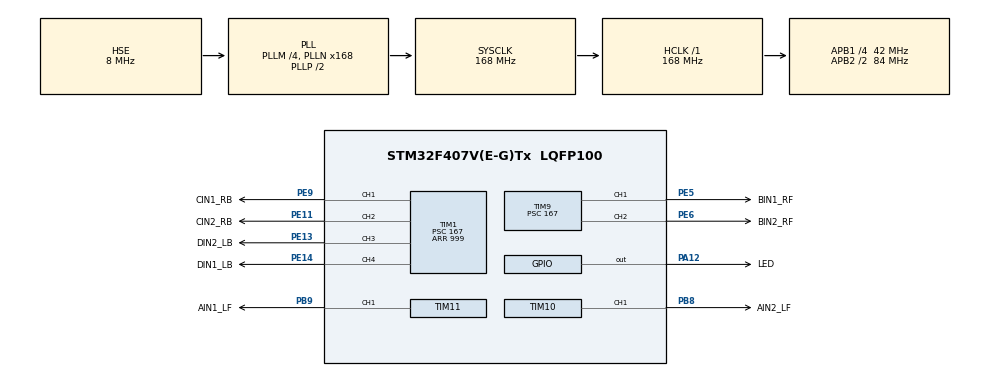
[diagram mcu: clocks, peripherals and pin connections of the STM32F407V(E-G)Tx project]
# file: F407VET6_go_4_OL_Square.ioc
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Mcu.Family=STM32F4
Mcu.Name=STM32F407V(E-G)Tx
Mcu.Package=LQFP100
NVIC.PriorityGroup=NVIC_PRIORITYGROUP_4
PA12.GPIO_Label=LED
PA12.Signal=GPIO_Output
PA13.Mode=Serial_Wire
PA13.Signal=SYS_JTMS-SWDIO
PA14.Mode=Serial_Wire
PA14.Signal=SYS_JTCK-SWCLK
PB8.GPIO_Label=AIN2_LF
PB8.Signal=S_TIM10_CH1
PB9.GPIO_Label=AIN1_LF
PB9.Signal=S_TIM11_CH1
PE11.GPIO_Label=CIN2_RB
PE11.Signal=S_TIM1_CH2
PE13.GPIO_Label=DIN2_LB
PE13.Signal=S_TIM1_CH3
PE14.GPIO_Label=DIN1_LB
PE14.Signal=S_TIM1_CH4
PE5.GPIO_Label=BIN1_RF
PE5.Signal=S_TIM9_CH1
PE6.GPIO_Label=BIN2_RF
PE6.Signal=S_TIM9_CH2
PE9.GPIO_Label=CIN1_RB
PE9.Signal=S_TIM1_CH1
PH0-OSC_IN.Mode=HSE-External-Oscillator
PH0-OSC_IN.Signal=RCC_OSC_IN
PH1-OSC_OUT.Mode=HSE-External-Oscillator
PH1-OSC_OUT.Signal=RCC_OSC_OUT
ProjectManager.HeapSize=0x200
ProjectManager.StackSize=0x400
ProjectManager.TargetToolchain=MDK-ARM V5.32
RCC.48MHZClocksFreq_Value=84000000
RCC.AHBFreq_Value=168000000
RCC.APB1CLKDivider=RCC_HCLK_DIV4
RCC.APB1Freq_Value=42000000
RCC.APB1TimFreq_Value=84000000
RCC.APB2CLKDivider=RCC_HCLK_DIV2
RCC.APB2Freq_Value=84000000
RCC.APB2TimFreq_Value=168000000
RCC.CortexFreq_Value=168000000
RCC.HCLKFreq_Value=168000000
RCC.HSE_VALUE=8000000
RCC.HSI_VALUE=16000000
RCC.LSE_VALUE=32768
RCC.PLLM=4
RCC.PLLN=168
RCC.PLLSourceVirtual=RCC_PLLSOURCE_HSE
RCC.SYSCLKFreq_VALUE=168000000
RCC.SYSCLKSource=RCC_SYSCLKSOURCE_PLLCLK
RCC.VCOOutputFreq_Value=336000000
SH.S_TIM10_CH1.0=TIM10_CH1,PWM Generation1 CH1
SH.S_TIM11_CH1.0=TIM11_CH1,PWM Generation1 CH1
SH.S_TIM1_CH1.0=TIM1_CH1,PWM Generation1 CH1
SH.S_TIM1_CH2.0=TIM1_CH2,PWM Generation2 CH2
SH.S_TIM1_CH3.0=TIM1_CH3,PWM Generation3 CH3
SH.S_TIM1_CH4.0=TIM1_CH4,PWM Generation4 CH4
SH.S_TIM9_CH1.0=TIM9_CH1,PWM Generation1 CH1
SH.S_TIM9_CH2.0=TIM9_CH2,PWM Generation2 CH2
TIM1.AutoReloadPreload=TIM_AUTORELOAD_PRELOAD_ENABLE
TIM1.Channel-PWM\ Generation1\ CH1=TIM_CHANNEL_1
TIM1.Channel-PWM\ Generation2\ CH2=TIM_CHANNEL_2
TIM1.Channel-PWM\ Generation3\ CH3=TIM_CHANNEL_3
TIM1.Channel-PWM\ Generation4\ CH4=TIM_CHANNEL_4
TIM1.Period=999
TIM1.Prescaler=167
TIM10.AutoReloadPreload=TIM_AUTORELOAD_PRELOAD_ENABLE
TIM10.Channel=TIM_CHANNEL_1
TIM10.Period=999
TIM10.Prescaler=167
TIM11.AutoReloadPreload=TIM_AUTORELOAD_PRELOAD_ENABLE
TIM11.Channel=TIM_CHANNEL_1
TIM11.Period=999
TIM11.Prescaler=167
TIM2.AutoReloadPreload=TIM_AUTORELOAD_PRELOAD_ENABLE
TIM2.Period=999
TIM2.Prescaler=167
TIM3.Prescaler=167
TIM9.AutoReloadPreload=TIM_AUTORELOAD_PRELOAD_ENABLE
TIM9.Channel-PWM\ Generation1\ CH1=TIM_CHANNEL_1
TIM9.Channel-PWM\ Generation2\ CH2=TIM_CHANNEL_2
TIM9.Period=999
TIM9.Prescaler=167
VP_TIM10_VS_ClockSourceINT.Mode=Enable_Timer
VP_TIM11_VS_ClockSourceINT.Mode=Enable_Timer
VP_TIM1_VS_ClockSourceINT.Mode=Internal
VP_TIM2_VS_ClockSourceINT.Mode=Internal
VP_TIM3_VS_ClockSourceINT.Mode=Internal
VP_TIM9_VS_ClockSourceINT.Mode=Internal
board=custom

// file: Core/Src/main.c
/* USER CODE BEGIN Header */
/**
  ******************************************************************************
  * @file           : main.c
  * @brief          : Main program body
  ******************************************************************************
  * @attention
  *
  * Copyright (c) 2022 STMicroelectronics.
  * All rights reserved.
  *
  * This software is licensed under terms that can be found in the LICENSE file
  * in the root directory of this software component.
  * If no LICENSE file comes with this software, it is provided AS-IS.
  *
  ******************************************************************************
  */
/* USER CODE END Header */
#include "main.h"
#include "tim.h"
#include "gpio.h"

void SystemClock_Config(void);
/* USER CODE BEGIN PFP */
void motor_pwm(uint8_t motor,int16_t pwm);
void go_4_OL(int16_t motor_RF,int16_t motor_LF,int16_t motor_LB,int16_t motor_RB);
/* USER CODE END PFP */

int main(void)
{

  /* MCU Configuration--------------------------------------------------------*/

  /* Reset of all peripherals, Initializes the Flash interface and the Systick. */
  HAL_Init();

  /* Configure the system clock */
  SystemClock_Config();

  /* Initialize all configured peripherals */
  MX_GPIO_Init();
  MX_TIM2_Init();
  MX_TIM1_Init();
  MX_TIM3_Init();
  MX_TIM9_Init();
  MX_TIM10_Init();
  MX_TIM11_Init();
  /* USER CODE BEGIN 2 */
	HAL_TIM_Base_Start_IT(&htim1);
	HAL_TIM_Base_Start_IT(&htim9);
	HAL_TIM_Base_Start_IT(&htim10);
	HAL_TIM_Base_Start_IT(&htim11);
	HAL_TIM_PWM_Start_IT(&htim1,TIM_CHANNEL_1);
	HAL_TIM_PWM_Start_IT(&htim1,TIM_CHANNEL_2);
	HAL_TIM_PWM_Start_IT(&htim1,TIM_CHANNEL_3);
	HAL_TIM_PWM_Start_IT(&htim1,TIM_CHANNEL_4);
	HAL_TIM_PWM_Start_IT(&htim9,TIM_CHANNEL_1);
	HAL_TIM_PWM_Start_IT(&htim9,TIM_CHANNEL_2);
	HAL_TIM_PWM_Start_IT(&htim10,TIM_CHANNEL_1);
	HAL_TIM_PWM_Start_IT(&htim11,TIM_CHANNEL_1);
  /* USER CODE END 2 */

  /* Infinite loop */
  while (1)
  {

		go_4_OL(1000,1000,1000,1000);//200.300

		/*
		HAL_Delay(5000);
		for(int i=1;i<=20;i++)
		{
			HAL_GPIO_TogglePin(LED_GPIO_Port,LED_Pin);
			HAL_Delay(100);
		}
		go_4_OL(-297,308,304,-299);
		HAL_Delay(4470);
		go_4_OL(0,0,0,0);
		for(int i=1;i<=16;i++)
		{
			HAL_GPIO_TogglePin(LED_GPIO_Port,LED_Pin);
			HAL_Delay(100);
		}
		go_4_OL(-300,-300,312,300);
		HAL_Delay(3150);
		go_4_OL(0,0,0,0);
		for(int i=1;i<=16;i++)
		{
			HAL_GPIO_TogglePin(LED_GPIO_Port,LED_Pin);
			HAL_Delay(100);
		}
		go_4_OL(303,-311,-296,312);
		HAL_Delay(4490);
		go_4_OL(0,0,0,0);
		for(int i=1;i<=16;i++)
		{
			HAL_GPIO_TogglePin(LED_GPIO_Port,LED_Pin);
			HAL_Delay(100);
		}
		go_4_OL(314,300,-299,-299);
		HAL_Delay(3128);
		go_4_OL(0,0,0,0);
		for(int i=1;i<=30;i++)
		{
			HAL_GPIO_TogglePin(LED_GPIO_Port,LED_Pin);
			HAL_Delay(100);
		}

		*/

  }
}

void SystemClock_Config(void)
{
  RCC_OscInitTypeDef RCC_OscInitStruct = {0};
  RCC_ClkInitTypeDef RCC_ClkInitStruct = {0};

  /** Configure the main internal regulator output voltage
  */
  __HAL_RCC_PWR_CLK_ENABLE();
  __HAL_PWR_VOLTAGESCALING_CONFIG(PWR_REGULATOR_VOLTAGE_SCALE1);

  /** Initializes the RCC Oscillators according to the specified parameters
  * in the RCC_OscInitTypeDef structure.
  */
  RCC_OscInitStruct.OscillatorType = RCC_OSCILLATORTYPE_HSE;
  RCC_OscInitStruct.HSEState = RCC_HSE_ON;
  RCC_OscInitStruct.PLL.PLLState = RCC_PLL_ON;
  RCC_OscInitStruct.PLL.PLLSource = RCC_PLLSOURCE_HSE;
  RCC_OscInitStruct.PLL.PLLM = 4;
  RCC_OscInitStruct.PLL.PLLN = 168;
  RCC_OscInitStruct.PLL.PLLP = RCC_PLLP_DIV2;
  RCC_OscInitStruct.PLL.PLLQ = 4;
  if (HAL_RCC_OscConfig(&RCC_OscInitStruct) != HAL_OK)
  {
    Error_Handler();
  }

  /** Initializes the CPU, AHB and APB buses clocks
  */
  RCC_ClkInitStruct.ClockType = RCC_CLOCKTYPE_HCLK|RCC_CLOCKTYPE_SYSCLK
                              |RCC_CLOCKTYPE_PCLK1|RCC_CLOCKTYPE_PCLK2;
  RCC_ClkInitStruct.SYSCLKSource = RCC_SYSCLKSOURCE_PLLCLK;
  RCC_ClkInitStruct.AHBCLKDivider = RCC_SYSCLK_DIV1;
  RCC_ClkInitStruct.APB1CLKDivider = RCC_HCLK_DIV4;
  RCC_ClkInitStruct.APB2CLKDivider = RCC_HCLK_DIV2;

  if (HAL_RCC_ClockConfig(&RCC_ClkInitStruct, FLASH_LATENCY_5) != HAL_OK)
  {
    Error_Handler();
  }
}

/* USER CODE BEGIN 4 */
void motor_pwm(uint8_t motor,int16_t pwm){
	if(motor == 1)			//motor£ºLF 2  1 RF
	{										//				            pwm[-1000,1000]
		if(pwm<0)//clockwise       LB 3  4 RB
		{
			if(pwm<-1000)
				pwm=-1000;
			__HAL_TIM_SetCompare(&htim9,TIM_CHANNEL_1,1000+pwm);
			__HAL_TIM_SetCompare(&htim9,TIM_CHANNEL_2,1000);
		}
		else//anticlockwise
		{
			if(pwm>1000)
				pwm=1000;
			__HAL_TIM_SetCompare(&htim9,TIM_CHANNEL_1,1000);
			__HAL_TIM_SetCompare(&htim9,TIM_CHANNEL_2,1000-pwm);
		}
	}
	else if(motor == 2)
	{
		if(pwm<0)//clockwise
		{
			if(pwm<-1000)
				pwm=-1000;
			__HAL_TIM_SetCompare(&htim11,TIM_CHANNEL_1,1000+pwm);
			__HAL_TIM_SetCompare(&htim10,TIM_CHANNEL_1,1000);
		}
		else//anticlockwise
		{
			if(pwm>1000)
				pwm=1000;
			__HAL_TIM_SetCompare(&htim11,TIM_CHANNEL_1,1000);
			__HAL_TIM_SetCompare(&htim10,TIM_CHANNEL_1,1000-pwm);
		}
	}
	else if(motor == 3)
	{
		if(pwm<0)//clockwise
		{
			if(pwm<-1000)
				pwm=-1000;
			__HAL_TIM_SetCompare(&htim1,TIM_CHANNEL_4,1000+pwm);
			__HAL_TIM_SetCompare(&htim1,TIM_CHANNEL_3,1000);
		}
		else//anticlockwise
		{
			if(pwm>1000)
				pwm=1000;
			__HAL_TIM_SetCompare(&htim1,TIM_CHANNEL_4,1000);
			__HAL_TIM_SetCompare(&htim1,TIM_CHANNEL_3,1000-pwm);
		}
	}
	else if(motor == 4)
	{
		if(pwm<0)//clockwise
		{
			if(pwm<-1000)
				pwm=-1000;
			__HAL_TIM_SetCompare(&htim1,TIM_CHANNEL_1,1000+pwm);
			__HAL_TIM_SetCompare(&htim1,TIM_CHANNEL_2,1000);
		}
		else//anticlockwise
		{
			if(pwm>1000)
				pwm=1000;
			__HAL_TIM_SetCompare(&htim1,TIM_CHANNEL_1,1000);
			__HAL_TIM_SetCompare(&htim1,TIM_CHANNEL_2,1000-pwm);
		}
	}
}
void go_4_OL(int16_t motor_RF,int16_t motor_LF,int16_t motor_LB,int16_t motor_RB){
	motor_pwm(1,motor_RF);
	motor_pwm(2,motor_LF);
	motor_pwm(3,motor_LB);
	motor_pwm(4,motor_RB);
}
/* USER CODE END 4 */

void Error_Handler(void)
{
  __disable_irq();
  while (1)
  {
  }
}
